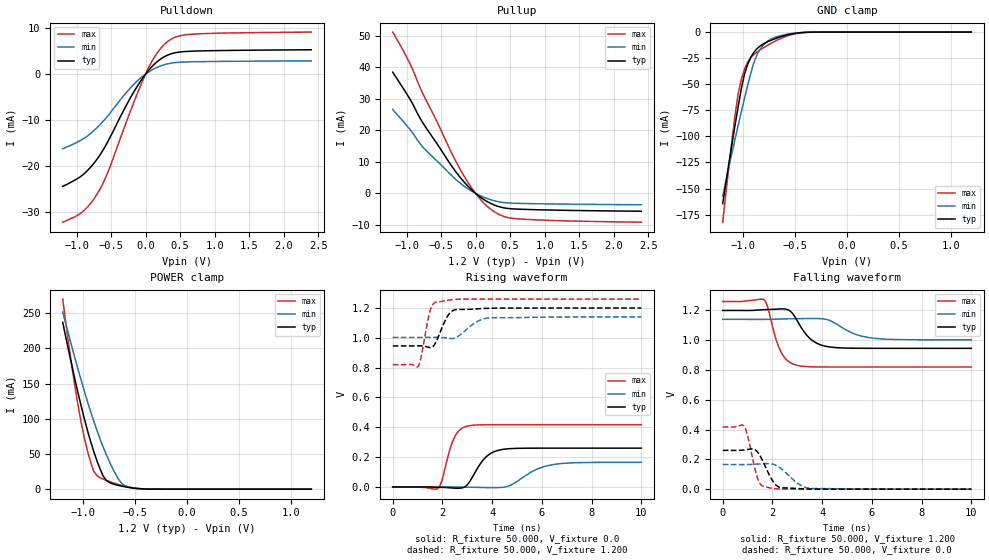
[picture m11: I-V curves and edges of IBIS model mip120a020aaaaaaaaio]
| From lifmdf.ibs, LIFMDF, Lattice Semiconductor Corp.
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|   Model mip120a020aaaaaaaaio
[Model] mip120a020aaaaaaaaio
Model_type I/O
Polarity   Non-Inverting
Enable   Active-Low
Vinl =  0.500V
Vinh =  0.880V
Vmeas =  0.700V
Cref =  0.0F
Rref =  1.000M
Vref =  0.0V
C_comp   5.000pF   4.000pF   5.500pF
[Temperature Range]   25.000   0.125k   -40.000
[Voltage Range]   1.200V   1.140V   1.260V
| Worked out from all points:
|   slope of the pulldown table from 0 to 0.18 V, typ, clamps not added: 63.3 ohm
|   slope of the pullup table from 0 to 0.18 V, typ, clamps not added: 65.9 ohm
|   GND clamp passes 1 mA (typ) near -0.48 V on its own axis
|   POWER clamp passes 1 mA (typ) near -0.49 V on its own axis
|   rising waveform, R_fixture 50.000, V_fixture 0.0: 20-80 % time 646ps typ, 1.04ns min, 446ps max; typ from 0 V to 0.26 V
|   rising waveform, R_fixture 50.000, V_fixture 1.200: 20-80 % time 413ps typ, 647ps min, 302ps max; typ from 0.946 V to 1.2 V
|   falling waveform, R_fixture 50.000, V_fixture 1.200: 20-80 % time 688ps typ, 991ps min, 499ps max; typ from 1.2 V to 0.946 V
|   falling waveform, R_fixture 50.000, V_fixture 0.0: 20-80 % time 470ps typ, 678ps min, 347ps max; typ from 0.26 V to 0 V
[Pulldown]
|Voltage   I(typ)   I(min)   I(max)
-1.2V     -24.43mA   -16.24mA   -32.23mA
-920mV    -22.07mA   -14.25mA   -30.06mA
-800mV    -20.33mA   -12.97mA   -28.22mA
-680mV    -18.04mA   -11.33mA   -25.58mA
-560mV    -15.08mA   -9.331mA   -21.88mA
-240mV    -5.719mA   -3.347mA   -8.876mA
0V        -2.429fA   -2.8fA     1.259fA
160mV     2.605mA    1.409mA    4.427mA
320mV     4.133mA    2.229mA    7.092mA
480mV     4.774mA    2.565mA    8.275mA
680mV     4.991mA    2.68mA     8.687mA
2.4V      5.291mA    2.878mA    9.14mA
[Pullup]
|Voltage   I(typ)   I(min)   I(max)
-1.2V     38.41mA    26.62mA    51.1mA
-960mV    30.22mA    20.53mA    41.55mA
-760mV    22.22mA    14.59mA    31.44mA
-360mV    9.102mA    5.929mA    13.38mA
-240mV    5.535mA    3.566mA    8.284mA
-120mV    2.498mA    1.585mA    3.821mA
0V        -28.4fA    28fA       56.84fA
120mV     -1.956mA   -1.223mA   -3.074mA
240mV     -3.395mA   -2.134mA   -5.356mA
400mV     -4.544mA   -2.875mA   -7.236mA
600mV     -4.976mA   -3.156mA   -8.04mA
2.4V      -5.654mA   -3.597mA   -9.127mA
[GND_clamp]
|Voltage   I(typ)   I(min)   I(max)
-1.2V     -164.5mA   -157.3mA   -182.3mA
-1.11V    -107mA     -115.7mA   -103.5mA
-1.05V    -71.11mA   -89.05mA   -58.53mA
-1.02V    -54.23mA   -76.19mA   -45.11mA
-990mV    -40.37mA   -63.68mA   -35.65mA
-960mV    -31.12mA   -51.57mA   -29.01mA
-900mV    -19.51mA   -29.36mA   -21.51mA
-870mV    -15.95mA   -21.89mA   -19.19mA
-810mV    -11.49mA   -12.65mA   -15.26mA
-750mV    -8.556mA   -7.618mA   -11.71mA
-480mV    -930.3uA   -744.4uA   -1.274mA
1.2V      0A         0A         0A
[POWER_clamp]
|Voltage   I(typ)   I(min)   I(max)
-1.2V     237mA      251.9mA    270mA
-1.11V    174.5mA    201.4mA    172.7mA
-1.02V    117mA      153.7mA    93.32mA
-990mV    99.45mA    138.6mA    72.01mA
-930mV    67.46mA    109.9mA    38.25mA
-900mV    53.33mA    96.45mA    25.43mA
-870mV    40.57mA    83.67mA    19.3mA
-810mV    18.72mA    59.99mA    14.34mA
-780mV    12.67mA    49.18mA    12.59mA
-660mV    5.246mA    13.71mA    6.607mA
-570mV    2.605mA    3.346mA    3.25mA
1.2V      0A         0A         0A
[Ramp]
| variable   typ   min   max
dV/dt_r   0.156/0.647n   99.248m/1.043n   0.251/0.450n
dV/dt_f   0.153/0.704n   82.378m/0.991n   0.264/0.502n
R_load = 50.000
[Rising Waveform]
R_fixture= 50.000
V_fixture= 0.0
V_fixture_min= 0.0
V_fixture_max= 0.0
|time   V(typ)   V(min)   V(max)
0s        0V         0V         0V
1.837ns   -2.23mV    48.3uV     -6.154mV
1.965ns   -2.627mV   125.7uV    37.58mV
2.452ns   -7.505mV   -320.4uV   321.7mV
2.682ns   -8.163mV   -1.158mV   379.5mV
2.991ns   13.39mV    -1.628mV   407.4mV
3.713ns   194.5mV    -3.763mV   417.3mV
4.322ns   248.8mV    -3.48mV    417.8mV
6.358ns   260.4mV    147.3mV    417.8mV
10ns      260.4mV    165.4mV    417.8mV
[Rising Waveform]
R_fixture= 50.000
V_fixture= 1.200
V_fixture_min= 1.140
V_fixture_max= 1.260
|time   V(typ)   V(min)   V(max)
0s        945.6mV    1.003V     820.3mV
1.028ns   946mV      1.003V     810.7mV
1.141ns   946.3mV    1.003V     870.3mV
1.502ns   934.1mV    1.003V     1.18V
1.751ns   975.8mV    1.003V     1.24V
2.221ns   1.149V     997.3mV    1.252V
2.541ns   1.189V     1.001V     1.258V
3.362ns   1.194V     1.106V     1.26V
3.863ns   1.198V     1.133V     1.26V
10ns      1.2V       1.14V      1.26V
[Falling Waveform]
R_fixture= 50.000
V_fixture= 1.200
V_fixture_min= 1.140
V_fixture_max= 1.260
|time   V(typ)   V(min)   V(max)
0s        1.2V       1.14V      1.26V
1.658ns   1.205V     1.14V      1.272V
1.799ns   1.206V     1.14V      1.228V
2.318ns   1.21V      1.142V     930.2mV
2.69ns    1.198V     1.144V     852.4mV
2.95ns    1.144V     1.145V     833.4mV
3.55ns    1.006V     1.146V     821.9mV
4.241ns   956.4mV    1.136V     820.4mV
5.86ns    945.7mV    1.018V     820.3mV
10ns      945.6mV    1.003V     820.3mV
[Falling Waveform]
R_fixture= 50.000
V_fixture= 0.0
V_fixture_min= 0.0
V_fixture_max= 0.0
|time   V(typ)   V(min)   V(max)
0s        260.4mV    165.4mV    417.8mV
859ps     263.3mV    165.1mV    422.5mV
1.008ns   266.7mV    165.5mV    354.4mV
1.399ns   249.9mV    168.2mV    75.75mV
1.658ns   172.3mV    170.6mV    18.2mV
2.061ns   43.02mV    165.4mV    4.151mV
2.37ns    9.693mV    134.8mV    1.251mV
3.071ns   3.633mV    32.52mV    82.98uV
3.51ns    1.247mV    5.817mV    14.92uV
10ns      0V         0V         0V
